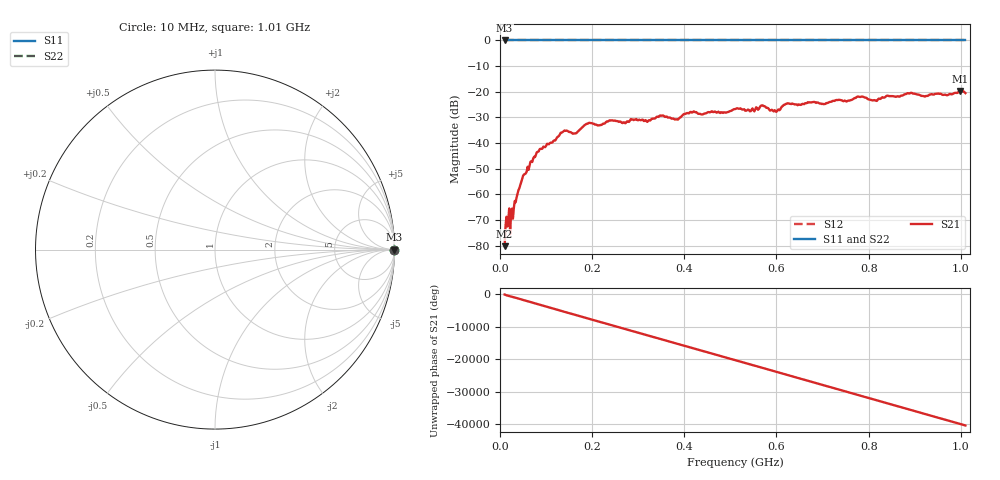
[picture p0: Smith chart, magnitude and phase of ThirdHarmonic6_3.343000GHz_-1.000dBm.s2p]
! 8/17/2025 10:32:00 AM
! C:\ANRITSUVNA\TEMP\TEMP.S2P
! CHANNEL.1
! TR.MEASUREMENT
! RAW.DATA
! RF.CORRECTION.OFF
! AVERAGING.OFF
! IF.BANDWIDTH: 5KHZ
! SWEEPTYPE:  FREQ.SWEEP(Linear)
! Reference Plane Port Info
! PORT:  PORT1  PORT2
! DISTANCE:  0  m  0  m
! TIME:  0  s  0  s
! PHASE.OFFSET:  0  deg.  0  deg.
! LOSS:  0  dB  0  dB
! REF.LOSS:  0  dB  0  dB
! REF.FREQ:  0  Hz  0  Hz
! Power Info
! POWER:  -20  dBm  -20  dBm
! EFF.POWER:  -20  dBm  -20  dBm
! SOURCE.ATTEN:  0  dB  0  dB
! TEST.ATTEN:  0  dB  0  dB
# GHZ S RI R 50.0
! FREQ.GHZ  S11RE  S11IM  S21RE  S21IM  S12RE  S12IM  S22RE  S22IM
!; PortSelection: Port_12
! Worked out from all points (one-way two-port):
!   501 points, 10 MHz to 1.01 GHz, reference 50 ohm
!   highest |S21| = -19.72 dB at 998 MHz (marker M1); lowest = -80.2 dB at 10 MHz (marker M2)
!   lowest |S11| = 0.0 dB at 10 MHz (marker M3)
!   |S11| at or under -10 dB: nowhere
!   |S22| runs from 0.0 to 0.0 dB; largest |S21 - S12| = 1.1
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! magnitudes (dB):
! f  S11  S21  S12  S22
! 10 MHz  0.0  -80.2  0.0  0.0
! 16 MHz  0.0  -72.5  0.0  0.0
! 26 MHz  0.0  -65.6  0.0  0.0
! 48 MHz  0.0  -54.1  0.0  0.0
! 82 MHz  0.0  -43.4  0.0  0.0
! 136 MHz  0.0  -35.7  0.0  0.0
! 162 MHz  0.0  -36.3  0.0  0.0
! 178 MHz  0.0  -34.0  0.0  0.0
! 194 MHz  0.0  -32.1  0.0  0.0
! 344 MHz  0.0  -29.8  0.0  0.0
! 384 MHz  0.0  -30.7  0.0  0.0
! 416 MHz  0.0  -28.1  0.0  0.0
! 510 MHz  0.0  -26.8  0.0  0.0
! 570 MHz  0.0  -25.3  0.0  0.0
! 598 MHz  0.0  -27.7  0.0  0.0
! 622 MHz  0.0  -24.7  0.0  0.0
! 678 MHz  0.0  -24.1  0.0  0.0
! 780 MHz  0.0  -22.0  0.0  0.0
! 814 MHz  0.0  -23.3  0.0  0.0
! 844 MHz  0.0  -21.7  0.0  0.0
! 998 MHz  0.0  -19.7  0.0  0.0
! 1.01 GHz  0.0  -20.5  0.0  0.0
